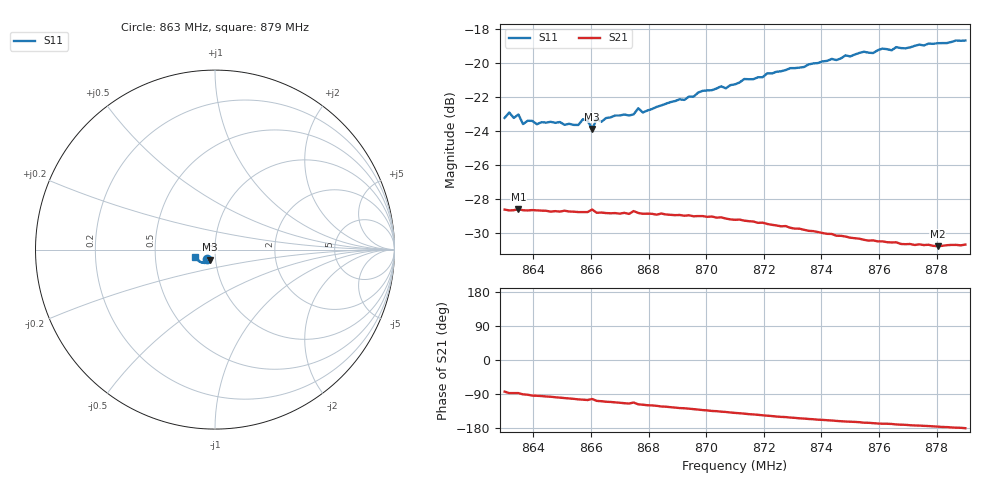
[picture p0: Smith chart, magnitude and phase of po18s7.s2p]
# HZ S RI R 50
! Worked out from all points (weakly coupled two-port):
!   101 points, 863 MHz to 879 MHz, reference 50 ohm
!   highest |S21| = -28.61 dB at 863.48 MHz (marker M1); lowest = -30.8 dB at 878.04 MHz (marker M2)
!   lowest |S11| = -23.9 dB at 866.04 MHz (marker M3), VSWR 1.14, Z = 46.8 - j5.3 ohm
!   |S11| at or under -10 dB: start of sweep to end of sweep
!   S12 and S22 are empty: the file has one direction only
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8.63e8  -0.0437 -0.0534  0.0042 -0.0368  0 0  0 0
8.6316e8  -0.047 -0.0539  0.00172 -0.0367  0 0  0 0
8.6332e8  -0.0433 -0.0536  0.0018 -0.0368  0 0  0 0
8.6348e8  -0.0428 -0.0561  0.0017 -0.0371  0 0  0 0
8.6364e8  -0.0404 -0.0524  -0.000426 -0.0368  0 0  0 0
8.638e8  -0.0436 -0.0517  -0.00108 -0.0368  0 0  0 0
8.6556e8  -0.0361 -0.0549  -0.00878 -0.0353  0 0  0 0
8.6572e8  -0.0356 -0.0583  -0.00923 -0.0352  0 0  0 0
8.6588e8  -0.0365 -0.057  -0.00982 -0.035  0 0  0 0
8.6604e8  -0.0302 -0.0564  -0.00827 -0.0361  0 0  0 0
8.662e8  -0.0361 -0.0582  -0.0111 -0.0344  0 0  0 0
8.6636e8  -0.0354 -0.057  -0.0117 -0.0343  0 0  0 0
8.6748e8  -0.0305 -0.0637  -0.0139 -0.0339  0 0  0 0
8.6764e8  -0.0373 -0.0635  -0.0164 -0.0322  0 0  0 0
8.678e8  -0.0357 -0.062  -0.0169 -0.0317  0 0  0 0
8.6844e8  -0.0375 -0.065  -0.0194 -0.0303  0 0  0 0
8.71e8  -0.0476 -0.0723  -0.0263 -0.0223  0 0  0 0
8.7372e8  -0.0677 -0.0733  -0.0293 -0.0128  0 0  0 0
8.7548e8  -0.0847 -0.0671  -0.0292 -0.00755  0 0  0 0
8.7644e8  -0.0899 -0.0619  -0.029 -0.00575  0 0  0 0
8.7804e8  -0.1033 -0.0493  -0.0288 -0.00214  0 0  0 0
8.79e8  -0.1099 -0.0391  -0.0292 -3.6e-05  0 0  0 0
